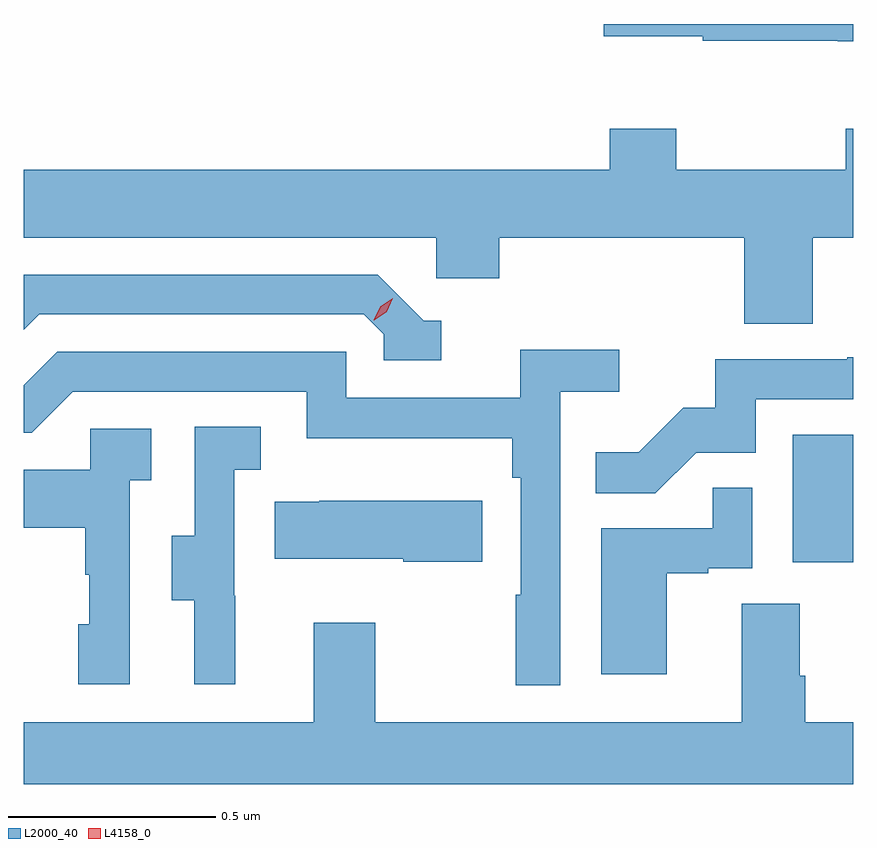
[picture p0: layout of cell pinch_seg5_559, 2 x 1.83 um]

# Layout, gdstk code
import gdstk
lib = gdstk.Library(unit=1e-6, precision=1e-09)
def R(c, l, rs):  # rectangles x0, y0, x1, y1
    for r in rs: c.add(gdstk.rectangle(r[:2], r[2:], *l))
def P(c, l, *ps):  # polygons
    for p in ps: c.add(gdstk.Polygon(p, *l))
L2000_40 = (2000, 40)
L4158_0 = (4158, 0)

pinch_seg5_559 = lib.new_cell('pinch_seg5_559')
R(pinch_seg5_559, L2000_40, [(975.44,833.334,975.586,833.641)])
P(pinch_seg5_559, L2000_40, [(975.586,834.631),(974.984,834.631),(974.984,834.601),(975.223,834.601),(975.223,834.591),(975.548,834.591),(975.548,834.59),(975.586,834.59)],
  [(975.488,834.116),(975.586,834.116),(975.586,834.379),(975.568,834.379),(975.568,834.28),(975.159,834.28),(975.159,834.379),(974.999,834.379),(974.999,834.28),(973.586,834.28),(973.586,834.116),(974.58,834.116),(974.58,834.018),(974.732,834.018),(974.732,834.116),(975.323,834.116),(975.323,833.908),(975.488,833.908)],
  [(974.593,833.916),(974.55,833.916),(974.439,834.027),(973.586,834.027),(973.586,833.894),(973.623,833.931),(974.406,833.931),(974.454,833.883),(974.454,833.82),(974.593,833.82)],
  [(974.88,833.744),(975.022,833.744),(975.022,833.846),(974.783,833.846),(974.783,833.73),(974.364,833.73),(974.364,833.841),(973.667,833.841),(973.586,833.76),(973.586,833.646),(973.605,833.646),(973.704,833.745),(974.268,833.745),(974.268,833.633),(974.764,833.633),(974.764,833.537),(974.784,833.537),(974.784,833.255),(974.772,833.255),(974.772,833.037),(974.88,833.037)],
  [(975.207,833.598),(975.351,833.598),(975.351,833.727),(975.586,833.727),(975.586,833.828),(975.571,833.828),(975.571,833.823),(975.253,833.823),(975.253,833.706),(975.176,833.706),(975.069,833.599),(974.965,833.599),(974.965,833.5),(975.109,833.5)],
  [(974.096,833.253),(974.094,833.253),(974.094,833.557),(974.158,833.557),(974.158,833.66),(973.998,833.66),(973.998,833.397),(973.943,833.397),(973.943,833.242),(973.997,833.242),(973.997,833.04),(974.096,833.04)],
  [(973.842,833.531),(973.894,833.531),(973.894,833.655),(973.746,833.655),(973.746,833.557),(973.586,833.557),(973.586,833.417),(973.734,833.417),(973.734,833.303),(973.744,833.303),(973.744,833.184),(973.718,833.184),(973.718,833.04),(973.842,833.04)],
  [(975.136,833.307),(975.236,833.307),(975.236,833.319),(975.342,833.319),(975.342,833.513),(975.247,833.513),(975.247,833.415),(974.978,833.415),(974.978,833.064),(975.136,833.064)],
  [(974.692,833.482),(974.299,833.482),(974.299,833.479),(974.191,833.479),(974.191,833.342),(974.501,833.342),(974.501,833.335),(974.692,833.335)],
  [(975.586,832.948),(975.47,832.948),(975.47,833.06),(975.457,833.06),(975.457,833.234),(975.317,833.234),(975.317,832.948),(974.433,832.948),(974.433,833.188),(974.285,833.188),(974.285,832.948),(973.586,832.948),(973.586,832.799),(975.586,832.799)])
P(pinch_seg5_559, L4158_0, [(974.43,833.917),(974.43,833.917),(974.445,833.95),(974.476,833.97),(974.476,833.97),(974.476,833.97),(974.461,833.937),(974.431,833.917)])

lib.write_gds('pinch_seg5_559.gds')
